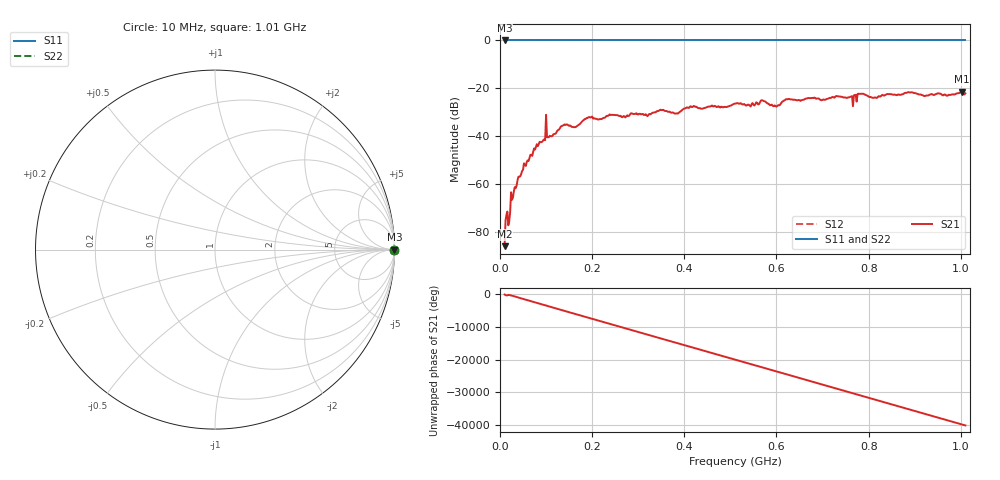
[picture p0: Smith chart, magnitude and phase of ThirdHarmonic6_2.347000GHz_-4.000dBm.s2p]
! 8/17/2025 3:30:29 AM
! C:\ANRITSUVNA\TEMP\TEMP.S2P
! CHANNEL.1
! TR.MEASUREMENT
! RAW.DATA
! RF.CORRECTION.OFF
! AVERAGING.OFF
! IF.BANDWIDTH: 5KHZ
! SWEEPTYPE:  FREQ.SWEEP(Linear)
! Reference Plane Port Info
! PORT:  PORT1  PORT2
! DISTANCE:  0  m  0  m
! TIME:  0  s  0  s
! PHASE.OFFSET:  0  deg.  0  deg.
! LOSS:  0  dB  0  dB
! REF.LOSS:  0  dB  0  dB
! REF.FREQ:  0  Hz  0  Hz
! Power Info
! POWER:  -20  dBm  -20  dBm
! EFF.POWER:  -20  dBm  -20  dBm
! SOURCE.ATTEN:  0  dB  0  dB
! TEST.ATTEN:  0  dB  0  dB
# GHZ S RI R 50.0
! FREQ.GHZ  S11RE  S11IM  S21RE  S21IM  S12RE  S12IM  S22RE  S22IM
!; PortSelection: Port_12
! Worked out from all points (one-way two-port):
!   501 points, 10 MHz to 1.01 GHz, reference 50 ohm
!   highest |S21| = -21.36 dB at 1.002 GHz (marker M1); lowest = -85.7 dB at 10 MHz (marker M2)
!   lowest |S11| = 0.0 dB at 10 MHz (marker M3)
!   |S11| at or under -10 dB: nowhere
!   |S22| runs from 0.0 to 0.0 dB; largest |S21 - S12| = 1.1
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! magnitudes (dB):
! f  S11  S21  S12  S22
! 10 MHz  0.0  -85.7  0.0  0.0
! 22 MHz  0.0  -71.6  0.0  0.0
! 28 MHz  0.0  -65.5  0.0  0.0
! 42 MHz  0.0  -56.8  0.0  0.0
! 76 MHz  0.0  -45.4  0.0  0.0
! 94 MHz  0.0  -41.6  0.0  0.0
! 96 MHz  0.0  -41.2  0.0  0.0
! 110 MHz  0.0  -39.9  0.0  0.0
! 136 MHz  0.0  -35.5  0.0  0.0
! 178 MHz  0.0  -33.8  0.0  0.0
! 196 MHz  0.0  -32.1  0.0  0.0
! 344 MHz  0.0  -29.4  0.0  0.0
! 382 MHz  0.0  -30.4  0.0  0.0
! 416 MHz  0.0  -27.7  0.0  0.0
! 510 MHz  0.0  -26.4  0.0  0.0
! 570 MHz  0.0  -25.0  0.0  0.0
! 598 MHz  0.0  -27.3  0.0  0.0
! 624 MHz  0.0  -24.5  0.0  0.0
! 678 MHz  0.0  -23.9  0.0  0.0
! 844 MHz  0.0  -22.4  0.0  0.0
! 1.002 GHz  0.0  -21.4  0.0  0.0
! 1.01 GHz  0.0  -22.1  0.0  0.0
